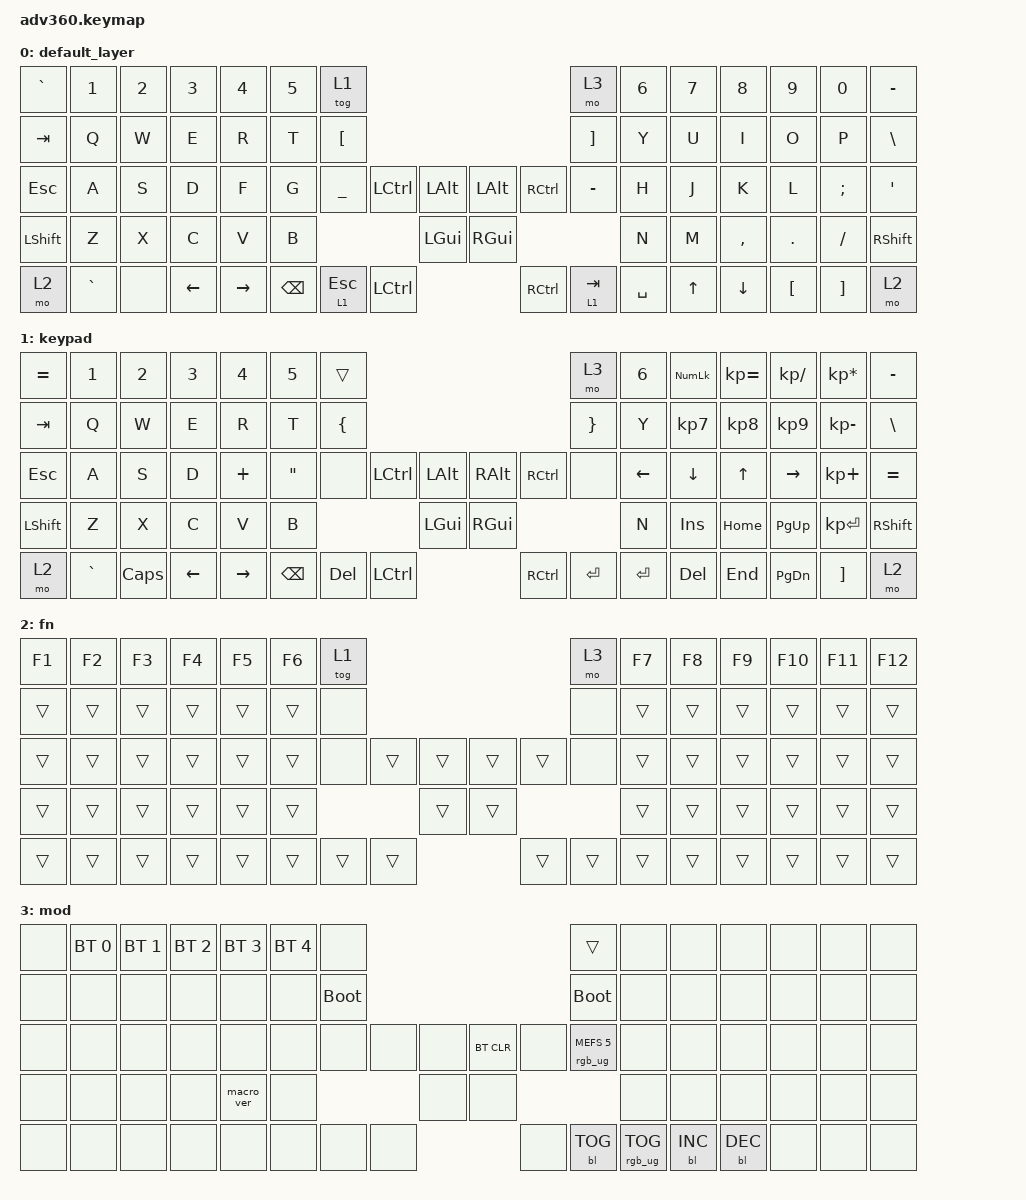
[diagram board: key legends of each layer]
#include <behaviors.dtsi>
#include <dt-bindings/zmk/keys.h>
#include <dt-bindings/zmk/bt.h>
#include <dt-bindings/zmk/rgb.h>
#include <dt-bindings/zmk/backlight.h>
// #include <dt-bindings/zmk/mouse.h> // unused because of https://github.com/zmkfirmware/zmk/pull/2027

/ {
    behaviors {
      #include "macros.dtsi"
      #include "version.dtsi"
      #ifndef VERSION_MACRO
      macro_ver: macro_ver {
        compatible = "zmk,behavior-macro";
        label = "macro_version";
        #binding-cells = <0>;
        bindings = <&kp RET>;
      };
      #endif

      hm: homerow_mods {
          compatible = "zmk,behavior-hold-tap";
          label = "HOMEROW_MODS";
          #binding-cells = <2>;
          tapping-term-ms = <200>;
          quick_tap_ms = <175>;
          flavor = "tap-preferred";
          bindings = <&kp>, <&kp>;
      };
    };

  keymap {
    compatible = "zmk,keymap";

    default_layer {
      bindings = <
        &kp GRAVE &kp N1    &kp N2   &kp N3   &kp N4     &kp N5 &tog 1                                                           &mo 3 &kp N6 &kp N7 &kp N8    &kp N9   &kp N0   &kp MINUS
        &kp TAB   &kp Q     &kp W    &kp E    &kp R      &kp T  &kp LBKT                                                            &kp RBKT &kp Y  &kp U  &kp I     &kp O    &kp P    &kp BSLH
        &kp ESC   &kp A     &kp S    &kp D    &kp F      &kp G  &kp UNDER           &kp LCTRL &kp LALT &kp LALT  &kp RCTRL           &kp MINUS &kp H  &kp J  &kp K     &kp L    &kp SEMI &kp SQT
        &kp LSHFT &kp Z     &kp X    &kp C    &kp V      &kp B                            &kp LGUI &kp RGUI                           &kp N  &kp M  &kp COMMA &kp DOT  &kp FSLH &kp RSHFT
        &mo 2     &kp GRAVE &none &kp LEFT &kp RIGHT                &kp BSPC &lt 1 ESC   &kp LCTL  &kp RCTL &lt 1 TAB &kp SPACE              &kp UP &kp DOWN  &kp LBKT &kp RBKT &mo 2
      >;
    };
    
    //# layer 1
    keypad {
      bindings = <
        &kp EQUAL &kp N1    &kp N2   &kp N3   &kp N4     &kp N5 &trans                                                           &mo 3 &kp N6 &kp KP_NUM &kp KP_EQUAL &kp KP_DIVIDE &kp KP_MULTIPLY &kp MINUS
        &kp TAB   &kp Q     &kp W    &kp E    &kp R      &kp T  &kp LBRC                                                            &kp RBRC &kp Y  &kp KP_N7  &kp KP_N8    &kp KP_N9     &kp KP_MINUS    &kp BSLH
        &kp ESC   &kp A     &kp S    &kp D    &kp PLUS      &kp DQT  &none           &kp LCTRL &kp LALT &kp RALT  &kp RCTRL           &none &kp LEFT  &kp DOWN  &kp UP    &kp RIGHT     &kp KP_PLUS     &kp EQUAL
        &kp LSHFT &kp Z     &kp X    &kp C    &kp V      &kp B                            &kp LGUI &kp RGUI                           &kp N  &kp INS  &kp HOME    &kp PG_UP     &kp KP_ENTER    &kp RSHFT
        &mo 2     &kp GRAVE &kp CAPS &kp LEFT &kp RIGHT                &kp BSPC &kp DEL   &kp LCTL  &kp RCTL  &kp ENTER &kp ENTER              &kp DEL     &kp END     &kp PG_DN    &kp RBKT        &mo 2
      >;
    };
    //# layer 2
    fn {
      bindings = <
        &kp F1 &kp F2 &kp F3 &kp F4 &kp F5 &kp F6 &tog 1                                           &mo 3 &kp F7 &kp F8 &kp F9 &kp F10 &kp F11 &kp F12
        &trans &trans &trans &trans &trans &trans  &none                                           &none &trans &trans &trans &trans  &trans  &trans
        &trans &trans &trans &trans &trans &trans  &none        &trans &trans &trans &trans        &none &trans &trans &trans &trans  &trans  &trans
        &trans &trans &trans &trans &trans &trans                      &trans &trans                     &trans &trans &trans &trans  &trans  &trans
        &trans &trans &trans &trans &trans               &trans &trans &trans &trans &trans &trans              &trans &trans &trans  &trans  &trans
      >;
    };
    mod {
      bindings = <
        &none &bt BT_SEL 0 &bt BT_SEL 1 &bt BT_SEL 2 &bt BT_SEL 3 &bt BT_SEL 4 &none                                                                     &trans                 &none        &none        &none        &none &none &none
        &none &none        &none        &none        &none        &none        &bootloader                                                               &bootloader            &none        &none        &none        &none &none &none
        &none &none        &none        &none        &none        &none        &none                   &none &none &bt BT_CLR &none                      &rgb_ug RGB_MEFS_CMD 5 &none        &none        &none        &none &none &none
        &none &none        &none        &none        &macro_ver   &none                                      &none &none                                                        &none        &none        &none        &none &none &none
        &none &none        &none        &none        &none                                       &none &none &none &none      &bl BL_TOG &rgb_ug RGB_TOG                                     &bl BL_INC   &bl BL_DEC   &none &none &none
      >;
    };
  };
};
